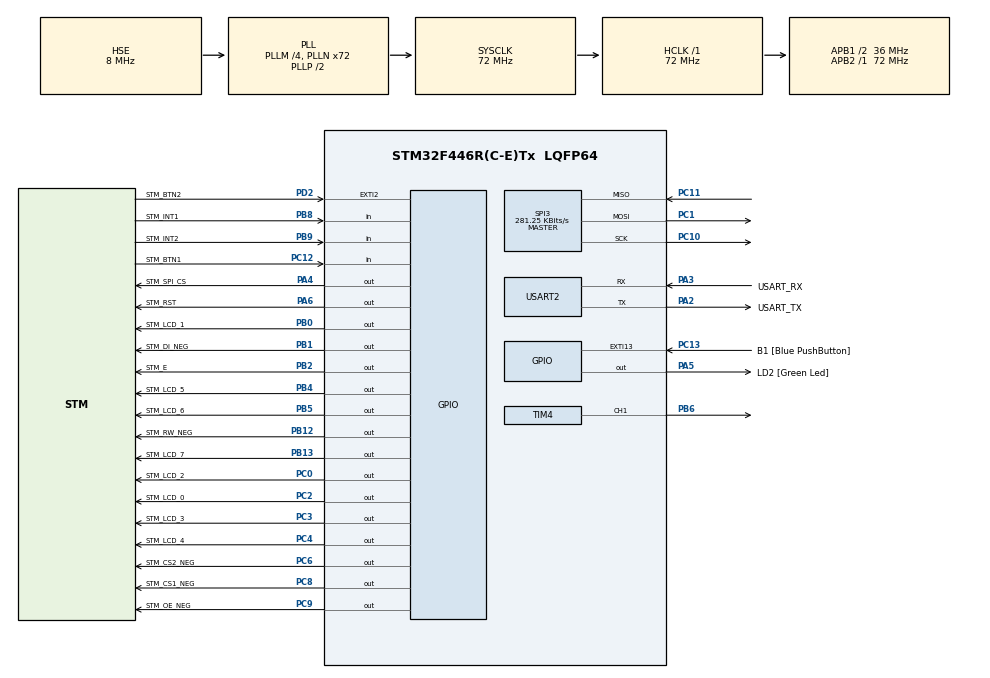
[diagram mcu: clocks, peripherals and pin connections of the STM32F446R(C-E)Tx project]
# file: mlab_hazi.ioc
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Mcu.Family=STM32F4
Mcu.Name=STM32F446R(C-E)Tx
Mcu.Package=LQFP64
NVIC.EXTI2_IRQn=true\:0\:0\:false\:false\:true\:true
NVIC.PriorityGroup=NVIC_PRIORITYGROUP_0
PA11.Signal=USB_OTG_FS_DM
PA12.Signal=USB_OTG_FS_DP
PA13.GPIO_Label=TMS
PA13.Mode=Trace_Asynchronous_SW
PA13.Signal=SYS_JTMS-SWDIO
PA14.GPIO_Label=TCK
PA14.Mode=Trace_Asynchronous_SW
PA14.Signal=SYS_JTCK-SWCLK
PA2.GPIO_Label=USART_TX
PA2.Mode=Asynchronous
PA2.Signal=USART2_TX
PA3.GPIO_Label=USART_RX
PA3.Mode=Asynchronous
PA3.Signal=USART2_RX
PA4.GPIO_Label=STM_SPI_CS
PA4.PinState=GPIO_PIN_SET
PA4.Signal=GPIO_Output
PA5.GPIO_Label=LD2 [Green Led]
PA5.GPIO_Speed=GPIO_SPEED_FREQ_LOW
PA5.Signal=GPIO_Output
PA6.GPIO_Label=STM_RST
PA6.Signal=GPIO_Output
PB0.GPIO_Label=STM_LCD_1
PB0.Signal=GPIO_Output
PB1.GPIO_Label=STM_DI_NEG
PB1.Signal=GPIO_Output
PB12.GPIO_Label=STM_RW_NEG
PB12.Signal=GPIO_Output
PB13.GPIO_Label=STM_LCD_7
PB13.Signal=GPIO_Output
PB2.GPIO_Label=STM_E
PB2.Signal=GPIO_Output
PB3.GPIO_Label=SWO
PB3.Mode=Trace_Asynchronous_SW
PB3.Signal=SYS_JTDO-SWO
PB4.GPIO_Label=STM_LCD_5
PB4.Signal=GPIO_Output
PB5.GPIO_Label=STM_LCD_6
PB5.Signal=GPIO_Output
PB6.Signal=S_TIM4_CH1
PB8.GPIO_Label=STM_INT1
PB8.Signal=GPIO_Input
PB9.GPIO_Label=STM_INT2
PB9.Signal=GPIO_Input
PC0.GPIO_Label=STM_LCD_2
PC0.Signal=GPIO_Output
PC1.Mode=Full_Duplex_Master
PC1.Signal=SPI3_MOSI
PC10.Mode=Full_Duplex_Master
PC10.Signal=SPI3_SCK
PC11.Mode=Full_Duplex_Master
PC11.Signal=SPI3_MISO
PC12.GPIO_Label=STM_BTN1
PC12.Signal=GPIO_Input
PC13.GPIO_Label=B1 [Blue PushButton]
PC13.GPIO_ModeDefaultEXTI=GPIO_MODE_IT_FALLING
PC13.Signal=GPXTI13
PC14-OSC32_IN.Mode=LSE-External-Oscillator
PC14-OSC32_IN.Signal=RCC_OSC32_IN
PC15-OSC32_OUT.Mode=LSE-External-Oscillator
PC15-OSC32_OUT.Signal=RCC_OSC32_OUT
PC2.GPIO_Label=STM_LCD_0
PC2.Signal=GPIO_Output
PC3.GPIO_Label=STM_LCD_3
PC3.Signal=GPIO_Output
PC4.GPIO_Label=STM_LCD_4
PC4.Signal=GPIO_Output
PC6.GPIO_Label=STM_CS2_NEG
PC6.Signal=GPIO_Output
PC8.GPIO_Label=STM_CS1_NEG
PC8.Signal=GPIO_Output
PC9.GPIO_Label=STM_OE_NEG
PC9.Signal=GPIO_Output
PD2.GPIO_Label=STM_BTN2
PD2.Signal=GPXTI2
PH0-OSC_IN.Mode=HSE-External-Oscillator
PH0-OSC_IN.Signal=RCC_OSC_IN
PH1-OSC_OUT.Mode=HSE-External-Oscillator
PH1-OSC_OUT.Signal=RCC_OSC_OUT
ProjectManager.HeapSize=0x200
ProjectManager.StackSize=0x400
ProjectManager.TargetToolchain=SW4STM32
RCC.48MHZClocksFreq_Value=84000000
RCC.AHBFreq_Value=72000000
RCC.APB1CLKDivider=RCC_HCLK_DIV2
RCC.APB1Freq_Value=36000000
RCC.APB1TimFreq_Value=72000000
RCC.APB2Freq_Value=72000000
RCC.APB2TimFreq_Value=72000000
RCC.CortexFreq_Value=72000000
RCC.FLatency-AdvancedSettings=FLASH_LATENCY_2
RCC.HCLKFreq_Value=72000000
RCC.HSE_VALUE=8000000
RCC.HSI_VALUE=16000000
RCC.PLLM=4
RCC.PLLN=72
RCC.PLLQ=3
RCC.PLLSourceVirtual=RCC_PLLSOURCE_HSE
RCC.SYSCLKFreq_VALUE=72000000
RCC.SYSCLKSource=RCC_SYSCLKSOURCE_PLLCLK
RCC.USBFreq_Value=48000000
RCC.VCOOutputFreq_Value=144000000
SH.S_TIM4_CH1.0=TIM4_CH1,PWM Generation1 CH1
SPI3.BaudRatePrescaler=SPI_BAUDRATEPRESCALER_128
SPI3.CRCCalculation=SPI_CRCCALCULATION_DISABLE
SPI3.CalculateBaudRate=281.25 KBits/s
SPI3.DataSize=SPI_DATASIZE_8BIT
SPI3.Direction=SPI_DIRECTION_2LINES
SPI3.FirstBit=SPI_FIRSTBIT_MSB
SPI3.Mode=SPI_MODE_MASTER
SPI3.VirtualType=VM_MASTER
TIM4.Channel-PWM\ Generation1\ CH1=TIM_CHANNEL_1
TIM4.Period=3000-1
TIM4.Prescaler=100-1
USART2.VirtualMode=VM_ASYNC
board=NUCLEO-F446RE

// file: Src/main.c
/**
  ******************************************************************************
  * @file           : main.c
  * @brief          : Main program body
  ******************************************************************************
  ** This notice applies to any and all portions of this file
  * that are not between comment pairs USER CODE BEGIN and
  * USER CODE END. Other portions of this file, whether
  * inserted by the user or by software development tools
  * are owned by their respective copyright owners.
  *
  * COPYRIGHT(c) 2018 STMicroelectronics
  *
  * Redistribution and use in source and binary forms, with or without modification,
  * are permitted provided that the following conditions are met:
  *   1. Redistributions of source code must retain the above copyright notice,
  *      this list of conditions and the following disclaimer.
  *   2. Redistributions in binary form must reproduce the above copyright notice,
  *      this list of conditions and the following disclaimer in the documentation
  *      and/or other materials provided with the distribution.
  *   3. Neither the name of STMicroelectronics nor the names of its contributors
  *      may be used to endorse or promote products derived from this software
  *      without specific prior written permission.
  *
  * THIS SOFTWARE IS PROVIDED BY THE COPYRIGHT HOLDERS AND CONTRIBUTORS "AS IS"
  * AND ANY EXPRESS OR IMPLIED WARRANTIES, INCLUDING, BUT NOT LIMITED TO, THE
  * IMPLIED WARRANTIES OF MERCHANTABILITY AND FITNESS FOR A PARTICULAR PURPOSE ARE
  * DISCLAIMED. IN NO EVENT SHALL THE COPYRIGHT HOLDER OR CONTRIBUTORS BE LIABLE
  * FOR ANY DIRECT, INDIRECT, INCIDENTAL, SPECIAL, EXEMPLARY, OR CONSEQUENTIAL
  * DAMAGES (INCLUDING, BUT NOT LIMITED TO, PROCUREMENT OF SUBSTITUTE GOODS OR
  * SERVICES; LOSS OF USE, DATA, OR PROFITS; OR BUSINESS INTERRUPTION) HOWEVER
  * CAUSED AND ON ANY THEORY OF LIABILITY, WHETHER IN CONTRACT, STRICT LIABILITY,
  * OR TORT (INCLUDING NEGLIGENCE OR OTHERWISE) ARISING IN ANY WAY OUT OF THE USE
  * OF THIS SOFTWARE, EVEN IF ADVISED OF THE POSSIBILITY OF SUCH DAMAGE.
  *
  ******************************************************************************
  */
#include "main.h"
#include "stm32f4xx_hal.h"
#include "spi.h"
#include "tim.h"
#include "usart.h"
#include "gpio.h"

/* USER CODE BEGIN Includes */
#include "LSM6DS3_ACC_GYRO_driver.h"
#include "display.h"
#include "bsp_globalfunctions.h"
#include "math.h"
/* USER CODE END Includes */

/* USER CODE BEGIN PV */
/* Private variables ---------------------------------------------------------*/
volatile int16_t pwm_value = 1000;
volatile int16_t step = 0;
volatile  GPIO_PinState pin1 = GPIO_PIN_SET;
volatile  GPIO_PinState pin1Old = GPIO_PIN_SET;
volatile uint8_t state = 0;
volatile uint8_t low = 0;
volatile uint8_t high = 0;
volatile uint16_t accValue = 0;
uint8_t receive = 0;
uint8_t transmit = 0;
uint8_t spi_check_state = HAL_ERROR;
uint8_t sor[64];
uint8_t data[64];
volatile uint16_t titleOld = 0;
volatile float rollToValOld = 0;
extern uint8_t exti_flag;
volatile float rollOffset = 0;
volatile float pitchOffset = 0;
volatile uint8_t isOK = 0;

extern UART_HandleTypeDef huart2;

/* USER CODE END PV */

void SystemClock_Config(void);

/* USER CODE BEGIN PFP */
/* Private function prototypes -----------------------------------------------*/
void user_pwm_setvalue(uint16_t value);
uint8_t user_spi_check();
void user_pwm_detect_edge_and_modify();
void user_spi_read_register(uint8_t register_id);
void user_lcd_write_uint16_t(uint16_t integer, uint8_t positionX, uint8_t positionY);
uint16_t user_8bit_to_16bit(uint8_t lower, uint8_t higher);
void user_spi_read_acc_values();
float user_16bit_2s_complement_to_decimal(uint16_t number);
void user_generate_arrays();

/* USER CODE END PFP */

int main(void)
{

  /* MCU Configuration----------------------------------------------------------*/

  /* Reset of all peripherals, Initializes the Flash interface and the Systick. */
  HAL_Init();

  /* Configure the system clock */
  SystemClock_Config();

  /* Initialize all configured peripherals */
  MX_GPIO_Init();
  MX_SPI3_Init();
  MX_TIM4_Init();
  MX_USART2_UART_Init();
  /* USER CODE BEGIN 2 */

  /* start user functions and generate arrays */
  HAL_TIM_PWM_Start(&htim4, TIM_CHANNEL_1);
  spi_check_state = user_spi_check();
  user_generate_arrays();
  user_pwm_setvalue(pwm_value);
  GlobalFunctions_Init();
  GLCD_Init();

  /* sensor check and error handler*/
  if (HAL_OK == spi_check_state)
  {
	 GLCD_WriteString("Sensor is ok", 1,20);
	 isOK = 1;
	 HAL_Delay(1000);
	 GLCD_Clear();
  }
  else
  {
  	 GLCD_WriteString("Sensor error", 1,20);
  	 isOK = 0;
  }

  uint8_t testDataToSend[8];

    for (uint8_t i = 0; i < 8; i++)
    {
      testDataToSend[i] = i;
    }
   uint8_t cntr = 0;
  /* USER CODE END 2 */

  /* Infinite loop */
  while (1)
  {

  /* USER CODE BEGIN 3 */
	HAL_Delay(100);
	user_pwm_detect_edge_and_modify();
	if (isOK == 1 )
	{
		user_spi_read_acc_values();

	}
	if (cntr == 10)
	{
		cntr = 0;

		//HAL_UART_Transmit(&huart2,"23.4",8,100);
	}
	cntr++;
  }
  /* USER CODE END 3 */

}

void SystemClock_Config(void)
{

  RCC_OscInitTypeDef RCC_OscInitStruct;
  RCC_ClkInitTypeDef RCC_ClkInitStruct;

    /**Configure the main internal regulator output voltage
    */
  __HAL_RCC_PWR_CLK_ENABLE();

  __HAL_PWR_VOLTAGESCALING_CONFIG(PWR_REGULATOR_VOLTAGE_SCALE3);

    /**Initializes the CPU, AHB and APB busses clocks
    */
  RCC_OscInitStruct.OscillatorType = RCC_OSCILLATORTYPE_HSE;
  RCC_OscInitStruct.HSEState = RCC_HSE_ON;
  RCC_OscInitStruct.PLL.PLLState = RCC_PLL_ON;
  RCC_OscInitStruct.PLL.PLLSource = RCC_PLLSOURCE_HSE;
  RCC_OscInitStruct.PLL.PLLM = 4;
  RCC_OscInitStruct.PLL.PLLN = 72;
  RCC_OscInitStruct.PLL.PLLP = RCC_PLLP_DIV2;
  RCC_OscInitStruct.PLL.PLLQ = 3;
  RCC_OscInitStruct.PLL.PLLR = 2;
  if (HAL_RCC_OscConfig(&RCC_OscInitStruct) != HAL_OK)
  {
    _Error_Handler(__FILE__, __LINE__);
  }

    /**Initializes the CPU, AHB and APB busses clocks
    */
  RCC_ClkInitStruct.ClockType = RCC_CLOCKTYPE_HCLK|RCC_CLOCKTYPE_SYSCLK
                              |RCC_CLOCKTYPE_PCLK1|RCC_CLOCKTYPE_PCLK2;
  RCC_ClkInitStruct.SYSCLKSource = RCC_SYSCLKSOURCE_PLLCLK;
  RCC_ClkInitStruct.AHBCLKDivider = RCC_SYSCLK_DIV1;
  RCC_ClkInitStruct.APB1CLKDivider = RCC_HCLK_DIV2;
  RCC_ClkInitStruct.APB2CLKDivider = RCC_HCLK_DIV1;

  if (HAL_RCC_ClockConfig(&RCC_ClkInitStruct, FLASH_LATENCY_2) != HAL_OK)
  {
    _Error_Handler(__FILE__, __LINE__);
  }

    /**Configure the Systick interrupt time
    */
  HAL_SYSTICK_Config(HAL_RCC_GetHCLKFreq()/1000);

    /**Configure the Systick
    */
  HAL_SYSTICK_CLKSourceConfig(SYSTICK_CLKSOURCE_HCLK);

  /* SysTick_IRQn interrupt configuration */
  HAL_NVIC_SetPriority(SysTick_IRQn, 0, 0);
}

/* USER CODE BEGIN 4 */

/* generate lcd control arrays */
void user_generate_arrays ()
{
	  int i = 0;
	  int db = 0;
	  /* fill the array the numbers of the current row 0...4*/
	  for (i=0; i < 64; i++)
	  {
		  if(((i % 8) == 0) && (i != 0))
		  {
			  db++;
		  }
		  sor[i] = db;
	  }

	  /* fill the array powers of 2 in 8 bit with circular */
	  i = 0;
	  db = 0;
	  for (i=0; i < 64; i++)
	  {
		  if((i % 8) == 0)
		  {
			  db = 1;
		  }
		  data[i] = db;
		  db = db*2;
	  }
}

/* pwm value setter */
void user_pwm_setvalue(uint16_t value)
{
    TIM_OC_InitTypeDef sConfigOC;

    sConfigOC.OCMode = TIM_OCMODE_PWM1;
    sConfigOC.Pulse = value;
    sConfigOC.OCPolarity = TIM_OCPOLARITY_HIGH;
    sConfigOC.OCFastMode = TIM_OCFAST_DISABLE;
    HAL_TIM_PWM_ConfigChannel(&htim4, &sConfigOC, TIM_CHANNEL_1);
    HAL_TIM_PWM_Start(&htim4, TIM_CHANNEL_1);
}

uint8_t user_spi_check()
{
	/* piece together the options of accelerometer */
	uint8_t dataToWrite = 0;
	dataToWrite |= LSM6DS3_ACC_GYRO_BW_XL_100Hz;
	dataToWrite |= LSM6DS3_ACC_GYRO_FS_XL_8g;
	dataToWrite |= LSM6DS3_ACC_GYRO_ODR_XL_104Hz;

	/* read the who i am register */
	transmit = (LSM6DS3_ACC_GYRO_WHO_AM_I_REG | LSM6DS3_ACC_GYRO_READ_BIT);
	HAL_GPIO_WritePin(STM_SPI_CS_GPIO_Port, STM_SPI_CS_Pin, GPIO_PIN_RESET);
	HAL_SPI_Transmit(&hspi3,&transmit,1,50);
	HAL_SPI_Receive(&hspi3,&receive,1,50);
	HAL_GPIO_WritePin(STM_SPI_CS_GPIO_Port, STM_SPI_CS_Pin, GPIO_PIN_SET);

	/* write the options to the CTRL register */
	transmit = (LSM6DS3_ACC_GYRO_CTRL1_XL | LSM6DS3_ACC_GYRO_WRITE_BIT);
	HAL_GPIO_WritePin(STM_SPI_CS_GPIO_Port, STM_SPI_CS_Pin, GPIO_PIN_RESET);
	HAL_SPI_Transmit(&hspi3,&transmit,1,50);
	HAL_SPI_Transmit(&hspi3,&dataToWrite,1,50);
	HAL_GPIO_WritePin(STM_SPI_CS_GPIO_Port, STM_SPI_CS_Pin, GPIO_PIN_SET);

	/* check the who i am constant value */
	if (LSM6DS3_ACC_GYRO_WHO_AM_I != receive)
	{
		return HAL_ERROR;
	}
	return HAL_OK;
}

uint8_t y = 1;

void user_spi_read_acc_values()
{
	/* read acc datas */
	float accX = 0;
	float accY = 0;
	float accZ = 0;
	user_spi_read_register(LSM6DS3_ACC_GYRO_OUTX_H_XL);
	high = receive;
	user_spi_read_register(LSM6DS3_ACC_GYRO_OUTX_L_XL);
	low = receive;
	accX= user_16bit_2s_complement_to_decimal(user_8bit_to_16bit(low, high));

	user_spi_read_register(LSM6DS3_ACC_GYRO_OUTY_H_XL);
	high = receive;
	user_spi_read_register(LSM6DS3_ACC_GYRO_OUTY_L_XL);
	low = receive;
	accY= user_16bit_2s_complement_to_decimal(user_8bit_to_16bit(low, high));

	user_spi_read_register(LSM6DS3_ACC_GYRO_OUTZ_H_XL);
	high = receive;
	user_spi_read_register(LSM6DS3_ACC_GYRO_OUTZ_L_XL);
	low = receive;
	accZ= user_16bit_2s_complement_to_decimal(user_8bit_to_16bit(low, high));

	/* calculate tilt angles and draw */
	volatile float roll = (atan2(accY, accZ) * -57.3) + 90 - rollOffset;
	volatile float pitch = (atan2((- accX) , sqrt(accY * accY + accZ * accZ)) * 57.3) + 90 - pitchOffset;

	/* scale angles to pixel locations */
	volatile float temp = (pitch/180)*64;
	volatile uint16_t title = (uint16_t)temp;
	volatile float rollToVal = round((roll/180)*128);

	/* delete the older point */
	if ((titleOld != title) || (rollToVal != rollToValOld))
	{
		GLCD_Write_Block(0x00, sor[titleOld], rollToValOld);
	}

	/* in case of two point are in same byte data column */
	if ((rollToVal == 64) && (sor[title] == sor[32]))
	{
		GLCD_Write_Block((data[title] | data[32]), sor[title], 64);
	}
	else
	{
		GLCD_Write_Block(data[title], sor[title], rollToVal);
		GLCD_Write_Block(data[32], sor[32], 64);
	}

	/* save older states */
	titleOld = title;
	rollToValOld = rollToVal;

	/* set new offset and center */
	if (exti_flag == 1)
	{
		rollOffset = roll - 90 + rollOffset;
		pitchOffset = pitch - 90 + pitchOffset;
		exti_flag = 0;
	}
}

float user_16bit_2s_complement_to_decimal(uint16_t number)
{
	/* check the sign */
	GPIO_PinState isNegative = (number & (1 << 15)) != 0;

	if( isNegative )
	{
		/* when it is negative -> calculate to decimal */
		number = (~number) + 1;
	}

	/* cast to float and write sign */
	float ret = (float)number;

	if( isNegative )
	{
		return ret*(-1);
	}
	return ret;
}

void user_lcd_write_uint16_t(uint16_t integer, uint8_t positionX, uint8_t positionY)
{
	float fValue =0;
	uint8_t number[6];
	int i = 0;

	/* check sign and set first caracter code (+/-)*/
	if ((integer & 0x8000) != 0)
	{
		fValue = user_16bit_2s_complement_to_decimal(integer)*(-1);
		integer = (uint16_t)fValue;
		number[0] = 13;
	}
	else
	{
		number[0] = 11;
	}

	/* dispart the decimals and write array to LCD*/
	number[1] = (integer / 10000);
	number[2] = (integer / 1000) - (number[1]*10);
	number[3] = (integer / 100) - (number[1]*100) - (number[2]*10);
	number[4] = (integer / 10) - (number[1]*1000) - (number[2]*100) - (number[3]*10);
	number[5] = integer - (number[1]*10000) - (number[2]*1000) - (number[3]*100) - (number[4]*10);
	GLCD_Write_Char((number[0]), positionY, positionX);
	for(i = 1; i < 6; i++)
	{
			positionX += 5;
			GLCD_Write_Char((number[i]+16), positionY, positionX);
	}
}

/* default spi read method */
void user_spi_read_register(uint8_t register_id)
{
	transmit = (register_id | LSM6DS3_ACC_GYRO_READ_BIT);
	HAL_GPIO_WritePin(STM_SPI_CS_GPIO_Port, STM_SPI_CS_Pin, GPIO_PIN_RESET);
	HAL_SPI_Transmit(&hspi3,&transmit,1,50);
	HAL_SPI_Receive(&hspi3,&receive,1,50);
	HAL_GPIO_WritePin(STM_SPI_CS_GPIO_Port, STM_SPI_CS_Pin, GPIO_PIN_SET);
}

/* converts 2 8bit number to 16 bit */
uint16_t user_8bit_to_16bit(uint8_t lower, uint8_t higher)
{
	return (lower + (higher*256));
}

/* circular pwm value setter */
void user_pwm_detect_edge_and_modify()
{
	/* read btn1 pin */
	pin1 = HAL_GPIO_ReadPin(STM_BTN1_GPIO_Port, STM_BTN1_Pin);

	/* detect rising edge */
	if (pin1 == GPIO_PIN_RESET && pin1Old == GPIO_PIN_SET)
	{
		if (state == 0){ step = 300;}
		else {step = -300;}
	}
	else
	{
		step = 0;
	}

	/* turn back to select increase/decrease the PWM value */
	if (pwm_value >= 3000){ state=1;}
	if (pwm_value <= 100) {state=0;}

	/* add changeable value to pwm duty cycle and set*/
	pwm_value += step;
	user_pwm_setvalue(pwm_value);

	/* save the old state */
	pin1Old = pin1;
}

/* USER CODE END 4 */

void _Error_Handler(char *file, int line)
{
  while(1)
  {
  }
}

/************************ (C) COPYRIGHT STMicroelectronics *****END OF FILE****/
